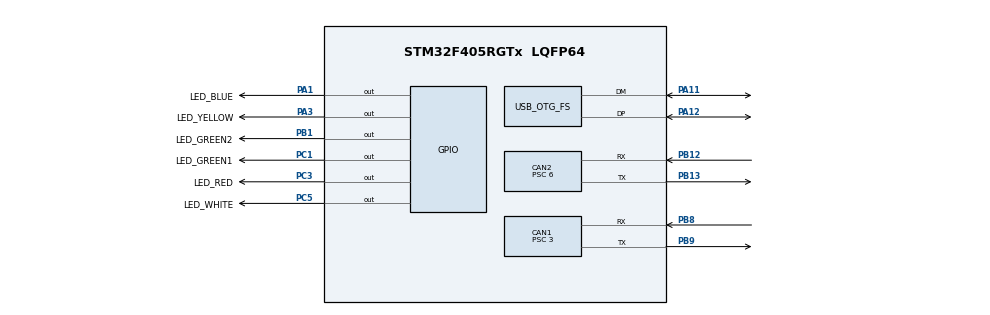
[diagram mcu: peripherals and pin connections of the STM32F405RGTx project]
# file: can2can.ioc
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CAN1.BS1=CAN_BS1_11TQ
CAN1.BS2=CAN_BS2_2TQ
CAN1.CalculateBaudRate=1000000
CAN1.CalculateTimeBit=1000
CAN1.CalculateTimeQuantum=71.42857142857143
CAN1.Prescaler=3
CAN2.BS1=CAN_BS1_11TQ
CAN2.BS2=CAN_BS2_2TQ
CAN2.CalculateBaudRate=500000
CAN2.CalculateTimeBit=2000
CAN2.CalculateTimeQuantum=142.85714285714286
CAN2.Prescaler=6
FREERTOS.MEMORY_ALLOCATION=1
FREERTOS.Tasks01=defaultTask,0,128,StartDefaultTask,Default,NULL,Static,defaultTaskBuffer,defaultTaskControlBlock
FREERTOS.configCHECK_FOR_STACK_OVERFLOW=1
FREERTOS.configUSE_IDLE_HOOK=1
FREERTOS.configUSE_MALLOC_FAILED_HOOK=1
FREERTOS.configUSE_NEWLIB_REENTRANT=1
Mcu.Family=STM32F4
Mcu.Name=STM32F405RGTx
Mcu.Package=LQFP64
NVIC.CAN1_RX0_IRQn=true\:5\:0\:false\:false\:true\:true\:true\:true\:true
NVIC.CAN1_RX1_IRQn=true\:5\:0\:false\:false\:true\:true\:true\:true\:true
NVIC.CAN2_RX0_IRQn=true\:5\:0\:false\:false\:true\:true\:true\:true\:true
NVIC.CAN2_RX1_IRQn=true\:5\:0\:false\:false\:true\:true\:true\:true\:true
NVIC.OTG_FS_IRQn=true\:5\:0\:false\:false\:true\:true\:false\:true\:true
NVIC.PriorityGroup=NVIC_PRIORITYGROUP_4
NVIC.TIM8_UP_TIM13_IRQn=true\:5\:0\:false\:false\:true\:true\:true\:true\:true
PA1.GPIO_Label=LED_BLUE
PA1.GPIO_ModeDefaultOutputPP=GPIO_MODE_OUTPUT_PP
PA1.GPIO_PuPd=GPIO_PULLUP
PA1.GPIO_Speed=GPIO_SPEED_FREQ_VERY_HIGH
PA1.PinState=GPIO_PIN_SET
PA1.Signal=GPIO_Output
PA11.Mode=Device_Only
PA11.Signal=USB_OTG_FS_DM
PA12.Mode=Device_Only
PA12.Signal=USB_OTG_FS_DP
PA13.Mode=Serial_Wire
PA13.Signal=SYS_JTMS-SWDIO
PA14.Mode=Serial_Wire
PA14.Signal=SYS_JTCK-SWCLK
PA3.GPIO_Label=LED_YELLOW
PA3.GPIO_ModeDefaultOutputPP=GPIO_MODE_OUTPUT_PP
PA3.GPIO_PuPd=GPIO_PULLUP
PA3.GPIO_Speed=GPIO_SPEED_FREQ_VERY_HIGH
PA3.PinState=GPIO_PIN_SET
PA3.Signal=GPIO_Output
PB1.GPIO_Label=LED_GREEN2
PB1.GPIO_ModeDefaultOutputPP=GPIO_MODE_OUTPUT_PP
PB1.GPIO_PuPd=GPIO_PULLUP
PB1.GPIO_Speed=GPIO_SPEED_FREQ_VERY_HIGH
PB1.PinState=GPIO_PIN_SET
PB1.Signal=GPIO_Output
PB12.Mode=CAN_Activate
PB12.Signal=CAN2_RX
PB13.Mode=CAN_Activate
PB13.Signal=CAN2_TX
PB8.Mode=CAN_Activate
PB8.Signal=CAN1_RX
PB9.Mode=CAN_Activate
PB9.Signal=CAN1_TX
PC1.GPIO_Label=LED_GREEN1
PC1.GPIO_ModeDefaultOutputPP=GPIO_MODE_OUTPUT_PP
PC1.GPIO_PuPd=GPIO_PULLUP
PC1.GPIO_Speed=GPIO_SPEED_FREQ_VERY_HIGH
PC1.PinState=GPIO_PIN_SET
PC1.Signal=GPIO_Output
PC14-OSC32_IN.Mode=LSE-External-Oscillator
PC14-OSC32_IN.Signal=RCC_OSC32_IN
PC15-OSC32_OUT.Mode=LSE-External-Oscillator
PC15-OSC32_OUT.Signal=RCC_OSC32_OUT
PC3.GPIO_Label=LED_RED
PC3.GPIO_ModeDefaultOutputPP=GPIO_MODE_OUTPUT_PP
PC3.GPIO_PuPd=GPIO_PULLUP
PC3.GPIO_Speed=GPIO_SPEED_FREQ_VERY_HIGH
PC3.PinState=GPIO_PIN_SET
PC3.Signal=GPIO_Output
PC5.GPIO_Label=LED_WHITE
PC5.GPIO_ModeDefaultOutputPP=GPIO_MODE_OUTPUT_PP
PC5.GPIO_PuPd=GPIO_PULLUP
PC5.GPIO_Speed=GPIO_SPEED_FREQ_VERY_HIGH
PC5.PinState=GPIO_PIN_SET
PC5.Signal=GPIO_Output
PH0-OSC_IN.Mode=HSE-External-Oscillator
PH0-OSC_IN.Signal=RCC_OSC_IN
PH1-OSC_OUT.Mode=HSE-External-Oscillator
PH1-OSC_OUT.Signal=RCC_OSC_OUT
ProjectManager.HeapSize=0x1000
ProjectManager.StackSize=0x1000
ProjectManager.TargetToolchain=STM32CubeIDE
RCC.48MHZClocksFreq_Value=48000000
RCC.AHBFreq_Value=168000000
RCC.APB1CLKDivider=RCC_HCLK_DIV4
RCC.APB1Freq_Value=42000000
RCC.APB1TimFreq_Value=84000000
RCC.APB2CLKDivider=RCC_HCLK_DIV2
RCC.APB2Freq_Value=84000000
RCC.APB2TimFreq_Value=168000000
RCC.CortexFreq_Value=168000000
RCC.HCLKFreq_Value=168000000
RCC.HSE_VALUE=8000000
RCC.HSI_VALUE=16000000
RCC.PLLM=8
RCC.PLLN=336
RCC.PLLQ=7
RCC.RCC_RTC_Clock_SourceVirtual=RCC_RTCCLKSOURCE_LSE
RCC.SYSCLKFreq_VALUE=168000000
RCC.SYSCLKSource=RCC_SYSCLKSOURCE_PLLCLK
RCC.VCOOutputFreq_Value=336000000
TIM1.Period=1000
TIM1.Prescaler=168
TIM1.TIM_MasterOutputTrigger=TIM_TRGO_UPDATE
TIM8.Period=1000
USB_DEVICE.CLASS_NAME_FS=CDC
USB_DEVICE.VirtualMode-CDC_FS=Cdc
USB_DEVICE.VirtualModeFS=Cdc_FS
USB_OTG_FS.VirtualMode=Device_Only
VP_FREERTOS_VS_CMSIS_V1.Mode=CMSIS_V1
VP_RTC_VS_RTC_Activate.Mode=RTC_Enabled
VP_TIM1_VS_ClockSourceINT.Mode=Internal
VP_TIM8_VS_ClockSourceITR.Mode=TriggerSource_ITR0
VP_USB_DEVICE_VS_USB_DEVICE_CDC_FS.Mode=CDC_FS
board=custom

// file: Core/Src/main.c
/* USER CODE BEGIN Header */
/**
  ******************************************************************************
  * @file           : main.c
  * @brief          : Main program body
  ******************************************************************************
  * @attention
  *
  * Copyright (c) 2023 STMicroelectronics.
  * All rights reserved.
  *
  * This software is licensed under terms that can be found in the LICENSE file
  * in the root directory of this software component.
  * If no LICENSE file comes with this software, it is provided AS-IS.
  *
  ******************************************************************************
  */
/* USER CODE END Header */
#include "main.h"
#include "cmsis_os.h"
#include "can.h"
#include "rtc.h"
#include "tim.h"
#include "usb_device.h"
#include "gpio.h"

/* USER CODE BEGIN PV */
osThreadId defaultTaskHandle1;
 uint32_t defaultTaskBuffer1[stackTest];
osStaticThreadDef_t defaultTaskControlBlock1;

void defaultTask(void const * argument);
/* USER CODE END PV */

void SystemClock_Config(void);
void MX_FREERTOS_Init(void);

/* USER CODE BEGIN 0 */
extern int altMain(void);
/* USER CODE END 0 */

int main(void)
{

  /* MCU Configuration--------------------------------------------------------*/

  /* Reset of all peripherals, Initializes the Flash interface and the Systick. */
  HAL_Init();

  /* Configure the system clock */
  SystemClock_Config();

  /* Initialize all configured peripherals */
  MX_GPIO_Init();
  MX_CAN1_Init();
  MX_CAN2_Init();
  MX_RTC_Init();
  MX_TIM1_Init();
  MX_TIM8_Init();
  /* USER CODE BEGIN 2 */
#ifdef RTOS_ON
  osThreadStaticDef(
  defaultTask123,
  defaultTask,
  osPriorityNormal,
  0,
  stackTest,
  defaultTaskBuffer1,
  &defaultTaskControlBlock1);

  defaultTaskHandle1 = osThreadCreate(osThread(defaultTask123), NULL);

  osKernelStart();
#else
  MX_USB_DEVICE_Init();
  altMainRaw();
#endif
    while(1){

    };

  /*
  while (1){

  } */
  /* USER CODE END 2 */

  /* Call init function for freertos objects (in freertos.c) */
  MX_FREERTOS_Init();

  /* Start scheduler */
  osKernelStart();
  /* We should never get here as control is now taken by the scheduler */
  /* Infinite loop */
  while (1)
  {

  }
}

void SystemClock_Config(void)
{
  LL_FLASH_SetLatency(LL_FLASH_LATENCY_5);
  while(LL_FLASH_GetLatency()!= LL_FLASH_LATENCY_5)
  {
  }
  LL_PWR_SetRegulVoltageScaling(LL_PWR_REGU_VOLTAGE_SCALE1);
  LL_RCC_HSE_Enable();

   /* Wait till HSE is ready */
  while(LL_RCC_HSE_IsReady() != 1)
  {

  }
  LL_PWR_EnableBkUpAccess();
  LL_RCC_LSE_Enable();

   /* Wait till LSE is ready */
  while(LL_RCC_LSE_IsReady() != 1)
  {

  }
  LL_RCC_PLL_ConfigDomain_SYS(LL_RCC_PLLSOURCE_HSE, LL_RCC_PLLM_DIV_8, 336, LL_RCC_PLLP_DIV_2);
  LL_RCC_PLL_ConfigDomain_48M(LL_RCC_PLLSOURCE_HSE, LL_RCC_PLLM_DIV_8, 336, LL_RCC_PLLQ_DIV_7);
  LL_RCC_PLL_Enable();

   /* Wait till PLL is ready */
  while(LL_RCC_PLL_IsReady() != 1)
  {

  }
  while (LL_PWR_IsActiveFlag_VOS() == 0)
  {
  }
  LL_RCC_SetAHBPrescaler(LL_RCC_SYSCLK_DIV_1);
  LL_RCC_SetAPB1Prescaler(LL_RCC_APB1_DIV_4);
  LL_RCC_SetAPB2Prescaler(LL_RCC_APB2_DIV_2);
  LL_RCC_SetSysClkSource(LL_RCC_SYS_CLKSOURCE_PLL);

   /* Wait till System clock is ready */
  while(LL_RCC_GetSysClkSource() != LL_RCC_SYS_CLKSOURCE_STATUS_PLL)
  {

  }
  LL_SetSystemCoreClock(168000000);

   /* Update the time base */
  if (HAL_InitTick (TICK_INT_PRIORITY) != HAL_OK)
  {
    Error_Handler();
  }
}

/* USER CODE BEGIN 4 */
void defaultTask(void const * argument)
{
  MX_USB_DEVICE_Init();
  altMain();
  for(;;)
  {
    osDelay(1);
  }
}
/* USER CODE END 4 */

void Error_Handler(void)
{
  __disable_irq();
  while (1)
  {
  }
}

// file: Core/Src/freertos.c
/* USER CODE BEGIN Header */
/**
  ******************************************************************************
  * File Name          : freertos.c
  * Description        : Code for freertos applications
  ******************************************************************************
  * @attention
  *
  * Copyright (c) 2023 STMicroelectronics.
  * All rights reserved.
  *
  * This software is licensed under terms that can be found in the LICENSE file
  * in the root directory of this software component.
  * If no LICENSE file comes with this software, it is provided AS-IS.
  *
  ******************************************************************************
  */
/* USER CODE END Header */

#include "FreeRTOS.h"
#include "task.h"
#include "main.h"
#include "cmsis_os.h"

/* USER CODE BEGIN Variables */
//extern int altMain(void);
/* USER CODE END Variables */
//osThreadId defaultTaskHandle;
//uint32_t defaultTaskBuffer[ 128 ];
//osStaticThreadDef_t defaultTaskControlBlock;

void StartDefaultTask(void const * argument);

extern void MX_USB_DEVICE_Init(void);
void MX_FREERTOS_Init(void); /* (MISRA C 2004 rule 8.1) */

/* GetIdleTaskMemory prototype (linked to static allocation support) */
void vApplicationGetIdleTaskMemory( StaticTask_t **ppxIdleTaskTCBBuffer, StackType_t **ppxIdleTaskStackBuffer, uint32_t *pulIdleTaskStackSize );

/* Hook prototypes */
void vApplicationIdleHook(void);
void vApplicationStackOverflowHook(xTaskHandle xTask, signed char *pcTaskName);
void vApplicationMallocFailedHook(void);

/* USER CODE BEGIN 2 */
__weak void vApplicationIdleHook( void )
{
   /* vApplicationIdleHook() will only be called if configUSE_IDLE_HOOK is set
   to 1 in FreeRTOSConfig.h. It will be called on each iteration of the idle
   task. It is essential that code added to this hook function never attempts
   to block in any way (for example, call xQueueReceive() with a block time
   specified, or call vTaskDelay()). If the application makes use of the
   vTaskDelete() API function (as this demo application does) then it is also
   important that vApplicationIdleHook() is permitted to return to its calling
   function, because it is the responsibility of the idle task to clean up
   memory allocated by the kernel to any task that has since been deleted. */
}
/* USER CODE END 2 */

/* USER CODE BEGIN 4 */
__weak void vApplicationStackOverflowHook(xTaskHandle xTask, signed char *pcTaskName)
{
   /* Run time stack overflow checking is performed if
   configCHECK_FOR_STACK_OVERFLOW is defined to 1 or 2. This hook function is
   called if a stack overflow is detected. */
   while(1){

   }
}
/* USER CODE END 4 */

/* USER CODE BEGIN 5 */
__weak void vApplicationMallocFailedHook(void)
{
   /* vApplicationMallocFailedHook() will only be called if
   configUSE_MALLOC_FAILED_HOOK is set to 1 in FreeRTOSConfig.h. It is a hook
   function that will get called if a call to pvPortMalloc() fails.
   pvPortMalloc() is called internally by the kernel whenever a task, queue,
   timer or semaphore is created. It is also called by various parts of the
   demo application. If heap_1.c or heap_2.c are used, then the size of the
   heap available to pvPortMalloc() is defined by configTOTAL_HEAP_SIZE in
   FreeRTOSConfig.h, and the xPortGetFreeHeapSize() API function can be used
   to query the size of free heap space that remains (although it does not
   provide information on how the remaining heap might be fragmented). */
   while(1){

   }
}
/* USER CODE END 5 */

/* USER CODE BEGIN GET_IDLE_TASK_MEMORY */
static StaticTask_t xIdleTaskTCBBuffer;
static StackType_t xIdleStack[configMINIMAL_STACK_SIZE];

void vApplicationGetIdleTaskMemory( StaticTask_t **ppxIdleTaskTCBBuffer, StackType_t **ppxIdleTaskStackBuffer, uint32_t *pulIdleTaskStackSize )
{
  *ppxIdleTaskTCBBuffer = &xIdleTaskTCBBuffer;
  *ppxIdleTaskStackBuffer = &xIdleStack[0];
  *pulIdleTaskStackSize = configMINIMAL_STACK_SIZE;
  /* place for user code */
}
/* USER CODE END GET_IDLE_TASK_MEMORY */

void MX_FREERTOS_Init(void) {

  /* Create the thread(s) */
  /* definition and creation of defaultTask */
 // osThreadStaticDef(defaultTask, StartDefaultTask, osPriorityNormal, 0, 128, defaultTaskBuffer, &defaultTaskControlBlock);
 // defaultTaskHandle = osThreadCreate(osThread(defaultTask), NULL);

}

void StartDefaultTask(void const * argument)
{
  /* init code for USB_DEVICE */
  MX_USB_DEVICE_Init();
  /* USER CODE BEGIN StartDefaultTask */
  /* Infinite loop */
  for(;;)
  {
    //altMain();
    osDelay(1);
  }
  /* USER CODE END StartDefaultTask */
}
